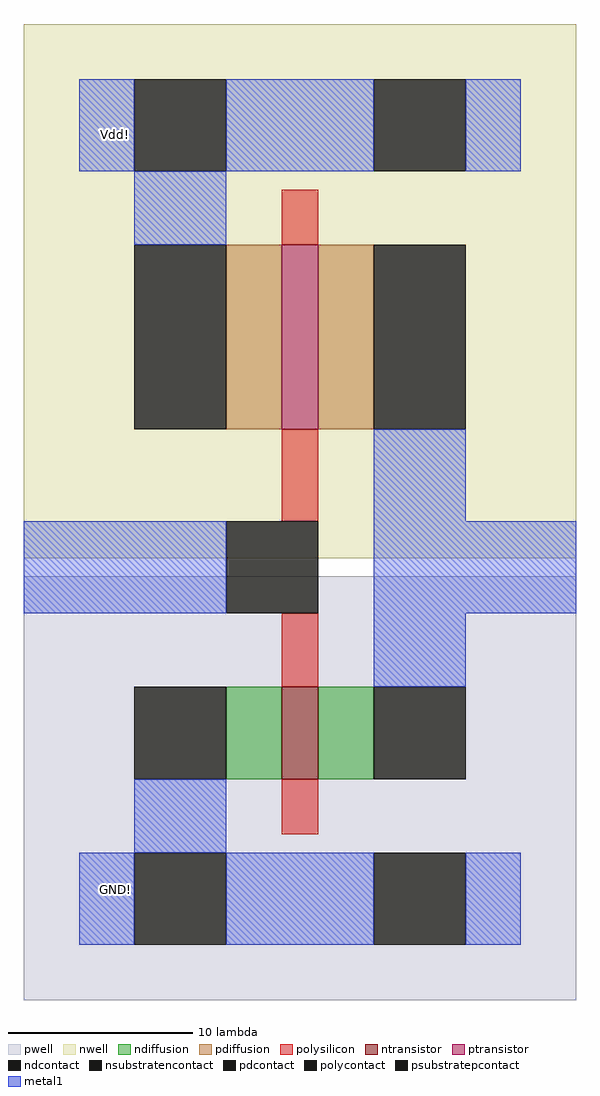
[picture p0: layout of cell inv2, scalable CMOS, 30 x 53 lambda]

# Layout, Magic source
magic
tech scmos
<< nwell >>
rect -10 11 20 40
<< pwell >>
rect -10 -13 20 10
<< ntransistor >>
rect 4 -1 6 4
<< ptransistor >>
rect 4 18 6 28
<< ndiffusion >>
rect 1 -1 4 4
rect 6 -1 9 4
<< pdiffusion >>
rect 1 18 4 28
rect 6 18 9 28
<< ndcontact >>
rect -4 -1 1 4
rect 9 -1 14 4
<< pdcontact >>
rect -4 18 1 28
rect 9 18 14 28
<< psubstratepcontact >>
rect -4 -10 1 -5
rect 9 -10 14 -5
<< nsubstratencontact >>
rect -4 32 1 37
rect 9 32 14 37
<< polysilicon >>
rect 4 28 6 31
rect 4 13 6 18
rect 4 4 6 8
rect 4 -4 6 -1
<< polycontact >>
rect 1 8 6 13
<< metal1 >>
rect -7 32 -4 37
rect 1 32 9 37
rect 14 32 17 37
rect -4 28 1 32
rect 9 13 14 18
rect -10 8 1 13
rect 9 8 20 13
rect 9 4 14 8
rect -4 -5 1 -1
rect -7 -10 -4 -5
rect 1 -10 9 -5
rect 14 -10 17 -5
<< labels >>
rlabel metal1 -5 -7 -5 -7 3 GND!
rlabel metal1 -5 34 -5 34 3 Vdd!
<< end >>
